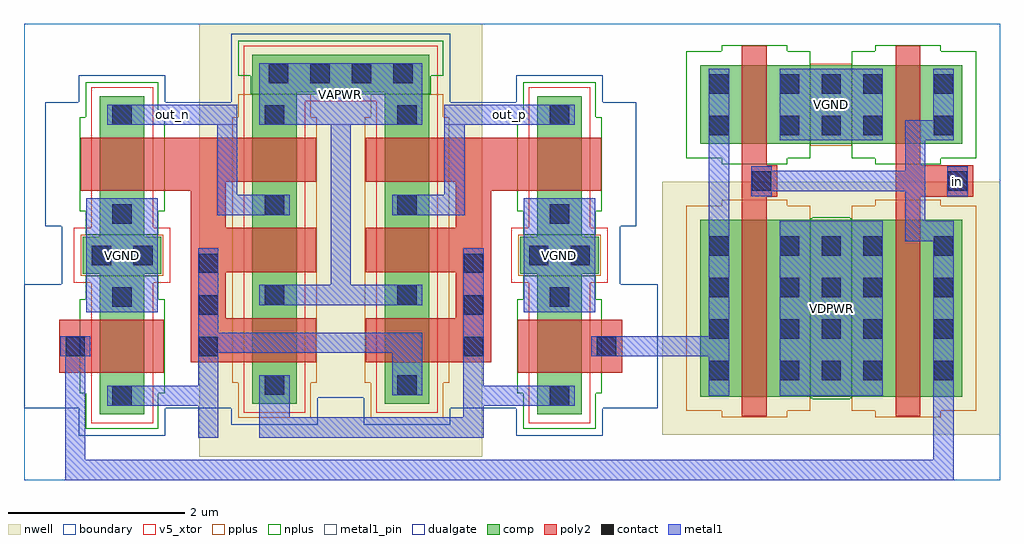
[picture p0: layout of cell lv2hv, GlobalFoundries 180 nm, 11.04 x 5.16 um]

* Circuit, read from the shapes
.subckt lv2hv VAPWR VDPWR VGND in out_n out_p
XM1 VGND n1 n2 VGND nfet_05v0 w=0.5u l=0.6u
XM2 out_n n2 VGND VGND nfet_05v0 w=0.5u l=0.6u
XM3 VGND n3 n4 VGND nfet_05v0 w=0.5u l=0.6u
XM4 out_p n4 VGND VGND nfet_05v0 w=0.5u l=0.6u
XM5 VGND n1 n3 VGND nfet_03v3 w=0.89u l=0.28u
XM6 n1 in VGND VGND nfet_03v3 w=0.89u l=0.28u
XM7 VAPWR n2 n4 VAPWR pfet_05v0 w=0.5u l=0.5u
XM8 out_n n2 VAPWR VAPWR pfet_05v0 w=0.5u l=0.5u m=2
XM9 VAPWR n4 n2 VAPWR pfet_05v0 w=0.5u l=0.5u
XM10 out_p n4 VAPWR VAPWR pfet_05v0 w=0.5u l=0.5u m=2
XM11 VDPWR n1 n3 VDPWR pfet_03v3 w=2u l=0.28u
XM12 n1 in VDPWR VDPWR pfet_03v3 w=2u l=0.28u
.ends

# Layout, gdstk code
import gdstk
lib = gdstk.Library(unit=1e-6, precision=1e-09)
def R(c, l, rs):  # rectangles x0, y0, x1, y1
    for r in rs: c.add(gdstk.rectangle(r[:2], r[2:], *l))
def A(c, l, x, y, w, h, nx, ny, dx, dy):  # array of equal rectangles
    R(c, l, [(x+i*dx, y+j*dy, x+i*dx+w, y+j*dy+h) for i in range(nx) for j in range(ny)])
boundary = (0, 0)
nwell = (21, 0)
comp = (22, 0)
poly2 = (30, 0)
pplus = (31, 0)
nplus = (32, 0)
contact = (33, 0)
metal1 = (34, 0)
metal1_pin = (34, 10)
dualgate = (55, 0)
v5_xtor = (112, 1)

lv2hv_core = lib.new_cell('lv2hv_core')
R(lv2hv_core, boundary, [(0,0,6.37,4.9)])
R(lv2hv_core, nwell, [(1.585,0,4.785,4.9)])
R(lv2hv_core, comp, [(0.46,0.48,0.96,2.07), (5.41,0.48,5.91,2.07), (2.185,0.6,2.685,4.125), (3.685,0.6,4.185,4.125), (0.265,2.07,1.155,2.49), (5.215,2.07,6.105,2.49), (0.46,2.49,0.96,4.08), (5.41,2.49,5.91,4.08), (2.185,4.125,4.185,4.55)])
R(lv2hv_core, poly2, [(0,0.95,1.18,1.55), (5.19,0.95,6.37,1.55), (1.485,1.07,2.905,1.57), (3.465,1.07,4.885,1.57), (1.485,1.57,1.885,2.09), (4.485,1.57,4.885,2.09), (1.485,2.09,2.905,2.59), (3.465,2.09,4.885,2.59), (1.485,2.59,1.885,3.01), (4.485,2.59,4.885,3.01), (0.24,3.01,1.885,3.11), (4.485,3.01,6.13,3.11), (0.24,3.11,2.905,3.61), (3.465,3.11,6.13,3.61)])
R(lv2hv_core, pplus, [(2.025,0.44,2.845,0.84), (3.525,0.44,4.345,0.84), (1.955,0.84,2.915,3.84), (3.455,0.84,4.415,3.84), (0.245,2.05,1.175,2.51), (5.195,2.05,6.125,2.51), (2.025,3.84,2.845,4.105), (3.525,3.84,4.345,4.105)])
R(lv2hv_core, nplus, [(0.3,0.32,1.12,0.72), (5.25,0.32,6.07,0.72), (0.23,0.72,1.19,1.78), (5.18,0.72,6.14,1.78), (0.3,1.78,1.12,2.05), (5.25,1.78,6.07,2.05), (0.3,2.51,1.12,2.78), (5.25,2.51,6.07,2.78), (0.23,2.78,1.19,3.84), (5.18,2.78,6.14,3.84), (0.3,3.84,1.12,4.24), (5.25,3.84,6.07,4.24), (2.165,4.105,4.205,4.31), (2.025,4.31,4.345,4.71)])
A(lv2hv_core, contact, 2.325, 0.7, 0.22, 0.22, 1, 4, 0, 1.02)
A(lv2hv_core, contact, 3.825, 0.7, 0.22, 0.22, 1, 4, 0, 1.02)
A(lv2hv_core, contact, 1.575, 1.14, 0.22, 0.22, 1, 3, 0, 0.47)
A(lv2hv_core, contact, 4.575, 1.14, 0.22, 0.22, 1, 3, 0, 0.47)
A(lv2hv_core, contact, 2.37, 4.23, 0.22, 0.22, 4, 1, 0.47, 0)
R(lv2hv_core, contact, [(0.6,0.58,0.82,0.8), (5.55,0.58,5.77,0.8), (0.07,1.14,0.29,1.36), (6.08,1.14,6.3,1.36), (0.6,1.7,0.82,1.92), (5.55,1.7,5.77,1.92), (0.365,2.17,0.585,2.39), (0.835,2.17,1.055,2.39), (5.315,2.17,5.535,2.39), (5.785,2.17,6.005,2.39), (0.6,2.64,0.82,2.86), (5.55,2.64,5.77,2.86), (0.6,3.76,0.82,3.98), (5.55,3.76,5.77,3.98)])
R(lv2hv_core, metal1, [(1.57,0.215,1.8,0.575), (2.265,0.215,4.8,0.445), (2.265,0.445,2.605,0.925), (4.57,0.445,4.8,0.575), (0.54,0.575,1.8,0.805), (4.57,0.575,5.83,0.805), (3.765,0.695,4.105,1.175), (1.57,0.805,1.8,1.175), (4.57,0.805,4.8,2.36), (0.01,1.135,0.35,1.365), (6.02,1.135,6.36,1.365), (1.57,1.175,4.105,1.405), (1.57,1.405,1.8,2.36), (0.305,1.635,1.115,2.925), (5.255,1.635,6.065,2.925), (2.265,1.715,4.105,1.945), (3.07,1.945,3.3,3.755), (1.785,2.735,2.605,2.965), (3.765,2.735,4.585,2.965), (1.785,2.965,2.015,3.755), (4.355,2.965,4.585,3.755), (0.54,3.755,2.015,3.985), (2.265,3.755,4.105,4.455), (4.355,3.755,5.83,3.985)])
R(lv2hv_core, dualgate, [(0.22,0.24,1.2,0.55), (5.17,0.24,6.15,0.55), (1.945,0.36,2.925,0.55), (3.445,0.36,4.425,0.55), (-0.4,0.55,2.925,0.67), (3.445,0.55,6.77,0.67), (-0.4,0.67,6.77,1.95), (0.025,1.95,6.345,2.61), (-0.16,2.61,6.53,4.01), (0.22,4.01,1.2,4.32), (1.945,4.01,4.425,4.79), (5.17,4.01,6.15,4.32)])
R(lv2hv_core, v5_xtor, [(0.36,0.38,1.06,1.97), (5.31,0.38,6.01,1.97), (2.085,0.5,2.785,4.025), (3.585,0.5,4.285,4.025), (0.165,1.97,1.255,2.59), (5.115,1.97,6.205,2.59), (0.36,2.59,1.06,4.18), (5.31,2.59,6.01,4.18), (2.085,4.025,4.285,4.65)])

lv2hv_dual_inv = lib.new_cell('lv2hv_dual_inv')
R(lv2hv_dual_inv, boundary, [(0,0,3.82,4.4)])
R(lv2hv_dual_inv, nwell, [(0,0,3.82,2.86)])
R(lv2hv_dual_inv, comp, [(0.43,0.43,3.39,2.43), (0.43,3.29,3.39,4.18)])
R(lv2hv_dual_inv, poly2, [(0.9,0.21,1.18,2.69), (2.64,0.21,2.92,2.69), (0.9,2.69,1.3,3.05), (2.64,2.69,3.52,3.05), (0.9,3.05,1.18,4.4), (2.64,3.05,2.92,4.4)])
R(lv2hv_dual_inv, pplus, [(0.67,0.2,1.41,0.27), (2.41,0.2,3.15,0.27), (0.27,0.27,1.675,2.59), (2.145,0.27,3.55,2.59), (0.67,2.59,1.41,2.66), (2.41,2.59,3.15,2.66), (1.675,3.27,2.145,4.2)])
R(lv2hv_dual_inv, nplus, [(1.7,0.4,2.12,0.41), (1.675,0.41,2.145,2.45), (1.7,2.45,2.12,2.46), (0.67,3.06,1.41,3.13), (2.41,3.06,3.15,3.13), (0.27,3.13,1.675,4.34), (2.145,3.13,3.55,4.34), (0.67,4.34,1.41,4.41), (2.41,4.34,3.15,4.41)])
A(lv2hv_dual_inv, contact, 0.53, 0.615, 0.22, 0.22, 1, 4, 0, 0.47)
A(lv2hv_dual_inv, contact, 1.33, 0.615, 0.22, 0.22, 3, 4, 0.47, 0.47)
A(lv2hv_dual_inv, contact, 3.07, 0.615, 0.22, 0.22, 1, 4, 0, 0.47)
A(lv2hv_dual_inv, contact, 1.33, 3.39, 0.22, 0.22, 3, 2, 0.47, 0.47)
R(lv2hv_dual_inv, contact, [(1.01,2.76,1.23,2.98), (3.23,2.76,3.45,2.98), (0.53,3.39,0.75,3.61), (3.07,3.39,3.29,3.61), (0.53,3.86,0.75,4.08), (3.07,3.86,3.29,4.08)])
R(lv2hv_dual_inv, metal1, [(0.525,0.44,0.755,4.14), (1.325,0.44,2.495,2.42), (3.065,0.44,3.295,2.19), (2.745,2.19,3.295,2.42), (2.745,2.42,2.975,2.755), (1.005,2.7,1.235,2.755), (3.225,2.7,3.455,3.04), (1.005,2.755,2.975,2.985), (1.005,2.985,1.235,3.04), (2.745,2.985,2.975,3.33), (1.325,3.33,2.495,4.14), (2.745,3.33,3.295,3.56), (3.065,3.56,3.295,4.14)])

lv2hv = lib.new_cell('lv2hv')
R(lv2hv, boundary, [(0,0,11.045,5.165)])
R(lv2hv, metal1, [(0.465,0,10.52,0.23), (0.465,0.23,0.695,1.4), (10.29,0.23,10.52,0.955), (8.55,0.955,9.72,2.935), (6.76,1.4,7.75,1.63), (0.705,1.9,1.515,3.19), (5.655,1.9,6.465,3.19), (10.45,3.215,10.68,3.555), (8.55,3.845,9.72,4.655), (0.94,4.02,2.415,4.25), (2.665,4.02,4.505,4.72), (4.755,4.02,6.23,4.25)])
R(lv2hv, metal1_pin, [(8.55,0.955,9.72,2.935), (0.705,1.9,1.515,3.19), (5.655,1.9,6.465,3.19), (10.45,3.215,10.68,3.555), (8.55,3.845,9.72,4.655), (0.94,4.02,2.415,4.25), (2.665,4.02,4.505,4.72), (4.755,4.02,6.23,4.25)])
lv2hv.add(gdstk.Reference(lv2hv_core, (0.4,0.265)))
lv2hv.add(gdstk.Reference(lv2hv_dual_inv, (7.225,0.515)))
lv2hv.add(gdstk.Label('out_n', (1.677,4.135), layer=34, texttype=10))
lv2hv.add(gdstk.Label('out_p', (5.492,4.135), layer=34, texttype=10))
lv2hv.add(gdstk.Label('in', (10.565,3.385), layer=34, texttype=10))
lv2hv.add(gdstk.Label('VAPWR', (3.585,4.37), layer=34, texttype=10))
lv2hv.add(gdstk.Label('VDPWR', (9.135,1.945), layer=34, texttype=10))
lv2hv.add(gdstk.Label('VGND', (1.11,2.545), layer=34, texttype=10))
lv2hv.add(gdstk.Label('VGND', (6.06,2.545), layer=34, texttype=10))
lv2hv.add(gdstk.Label('VGND', (9.135,4.25), layer=34, texttype=10))

lib.write_gds('lv2hv.gds')
